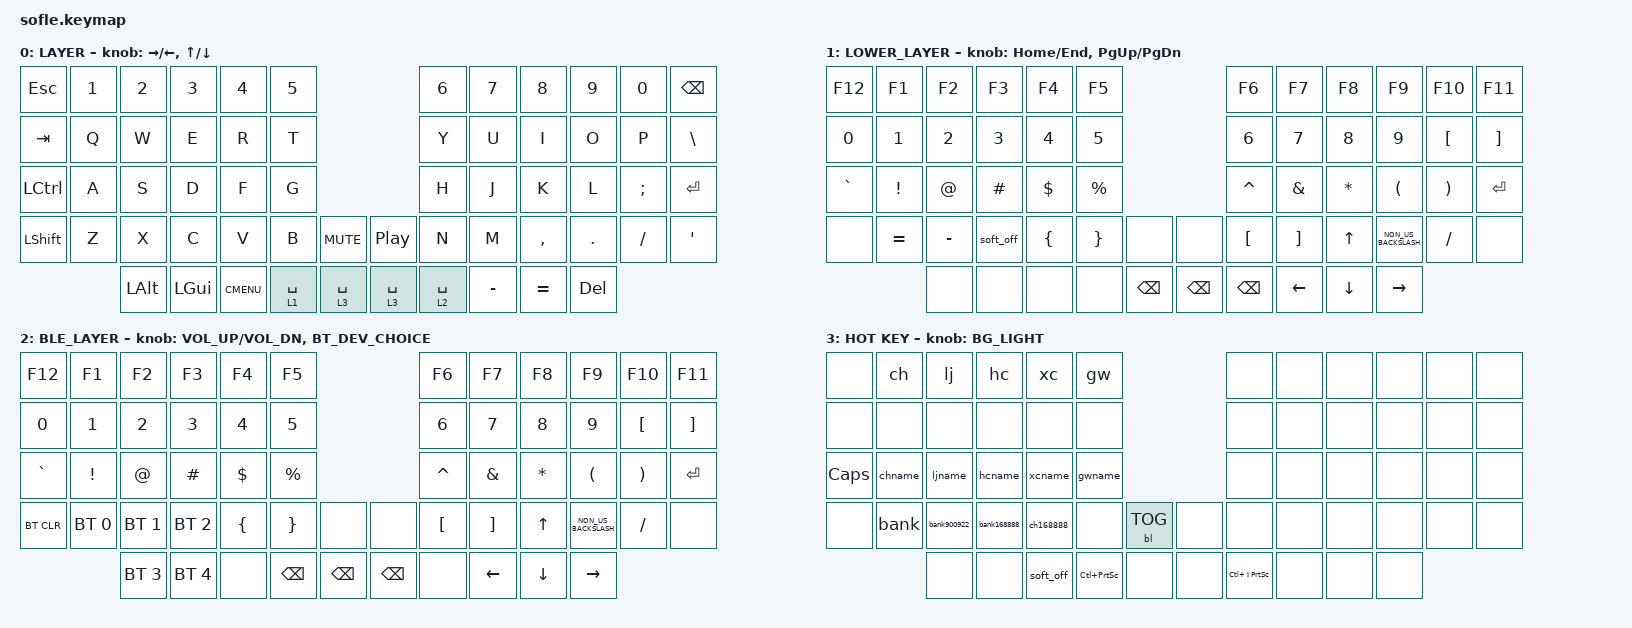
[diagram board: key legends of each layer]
/*
 * Copyright (c) 2020 The ZMK Contributors
 *
 * SPDX-License-Identifier: MIT
 */

#include <behaviors.dtsi>
#include <dt-bindings/zmk/backlight.h>
#include <dt-bindings/zmk/bt.h>
#include <dt-bindings/zmk/keys.h>

#define BASE 0
#define LOWER 1
#define RAISE 2
#define ADJUST 3

/ {
    // Activate ADJUST layer by pressing raise and lower

    conditional_layers { compatible = "zmk,conditional-layers"; };

    behaviors {
        BT_DEV_CHOICE: BT_DEV_CHOICE {
            compatible = "zmk,behavior-sensor-rotate";
            label = "BT_DEV_CHOICE";
            #sensor-binding-cells = <0>;
            bindings = <&bt BT_PRV>, <&bt BT_NXT>;
        };

        BG_LIGHT: BG_LIGHT {
            compatible = "zmk,behavior-sensor-rotate";
            label = "BG_LIGHT";
            #sensor-binding-cells = <0>;
            bindings = <&bl BL_INC>, <&bl BL_DEC>;
        };
    };

    macros {
        ch: ch {
            compatible = "zmk,behavior-macro";
            #binding-cells = <0>;
            bindings = <&kp TAB &kp N0 &kp N0 &kp N8 &kp TAB &kp N0 &kp N0 &kp N0 &kp N0 &kp N1 &kp N1 &kp ENTER &kp ENTER>;
            label = "CH";
        };

        lj: new_macro {
            compatible = "zmk,behavior-macro";
            #binding-cells = <0>;
            bindings = <&kp TAB &kp N0 &kp N0 &kp N8 &kp TAB &kp N0 &kp N0 &kp N0 &kp N0 &kp NUMBER_2 &kp NUMBER_2 &kp ENTER &kp ENTER>;
            label = "NEW_MACRO";
        };

        hc: hc {
            compatible = "zmk,behavior-macro";
            #binding-cells = <0>;
            bindings = <&kp TAB &kp N0 &kp N0 &kp N8 &kp TAB &kp N0 &kp N0 &kp N0 &kp N0 &kp NUMBER_3 &kp NUMBER_3 &kp ENTER &kp ENTER>;
            label = "HC";
        };

        xc: xc {
            compatible = "zmk,behavior-macro";
            #binding-cells = <0>;
            bindings = <&kp TAB &kp N0 &kp N0 &kp NUMBER_6 &kp TAB &kp N0 &kp N0 &kp N0 &kp N0 &kp NUMBER_4 &kp NUMBER_4 &kp ENTER &kp ENTER>;
            label = "XC";
        };

        gw: gw {
            compatible = "zmk,behavior-macro";
            #binding-cells = <0>;
            bindings = <&kp TAB &kp N0 &kp N0 &kp NUMBER_6 &kp TAB &kp N0 &kp N0 &kp N0 &kp N0 &kp N5 &kp N5 &kp ENTER &kp ENTER>;
            label = "GW";
        };

        chname: chname {
            compatible = "zmk,behavior-macro";
            #binding-cells = <0>;
            bindings = <&kp C &kp H>;
            label = "CHNAME";
        };

        ljname: ljname {
            compatible = "zmk,behavior-macro";
            #binding-cells = <0>;
            bindings = <&kp L &kp J>;
            label = "LJNAME";
        };

        hcname: hcname {
            compatible = "zmk,behavior-macro";
            #binding-cells = <0>;
            bindings = <&kp H &kp C>;
            label = "HCNAME";
        };

        xcname: xcname {
            compatible = "zmk,behavior-macro";
            #binding-cells = <0>;
            bindings = <&kp X &kp C>;
            label = "XCNAME";
        };

        gwname: gwname {
            compatible = "zmk,behavior-macro";
            #binding-cells = <0>;
            bindings = <&kp G &kp W>;
            label = "GWNAME";
        };

        bank: bank {
            compatible = "zmk,behavior-macro";
            #binding-cells = <0>;
            bindings = <&kp N0 &kp N1 &kp N4 &kp N0 &kp N7 &kp N8 &kp ENTER>;
            label = "BANK";
        };

        hcbank: hcbank {
            compatible = "zmk,behavior-macro";
            #binding-cells = <0>;
            bindings = <&kp N1 &kp N0 &kp N9 &kp N9 &kp N2 &kp N6 &kp ENTER>;
            label = "HCBANK";
        };

        bank168888: bank168888 {
            compatible = "zmk,behavior-macro";
            #binding-cells = <0>;
            bindings = <&kp N1 &kp N6 &kp N8 &kp N8 &kp N8 &kp N8 &kp ENTER>;
            label = "BANK168888";
        };

        ch168888: ch16888888 {
            compatible = "zmk,behavior-macro";
            #binding-cells = <0>;
            bindings = <&kp C &kp H &kp N1 &kp N6 &kp N8 &kp N8 &kp N8 &kp N8 &kp ENTER>;
            label = "CH16888888";
        };

        bank900922: bank900922 {
            compatible = "zmk,behavior-macro";
            #binding-cells = <0>;
            bindings = <&kp N9 &kp N0 &kp N0 &kp N9 &kp N2 &kp N2 &kp ENTER>;
            label = "BANK900922";
        };
    };

    keymap {
        compatible = "zmk,keymap";

        LAYER {
            display-name = "LAYER";

            // ------------------------------------------------------------------------------------------------------------
            // |  ESC  |  1  |  2  |  3   |  4   |  5   |                   |  6   |  7    |  8    |  9   |   0   |  DEL  |
            // |   `   |  Q  |  W  |  E   |  R   |  T   |                   |  Y   |  U    |  I    |  O   |   P   | BKSPC |
            // |  TAB  |  A  |  S  |  D   |  F   |  G   |                   |  H   |  J    |  K    |  L   |   ;   |   '   |
            // | SHIFT |  Z  |  X  |  C   |  V   |  B   |  MUTE  |  | PLAY_PAUSE |  N   |  M    |  ,    |  .   |   /   | SHIFT |
            //               | GUI | ALT  | CTRL | LOWER|  SPACE |  | ENTER | RAISE| CTRL  | ALT   | GUI  |

            bindings = <
&kp ESC    &kp N1  &kp N2    &kp N3    &kp N4       &kp N5                                        &kp N6       &kp N7     &kp N8     &kp N9   &kp N0    &kp BACKSPACE
&kp TAB    &kp Q   &kp W     &kp E     &kp R        &kp T                                         &kp Y        &kp U      &kp I      &kp O    &kp P     &kp BSLH
&kp LCTRL  &kp A   &kp S     &kp D     &kp F        &kp G                                         &kp H        &kp J      &kp K      &kp L    &kp SEMI  &kp ENTER
&kp LSHFT  &kp Z   &kp X     &kp C     &kp V        &kp B        &kp C_MUTE     &kp C_PLAY_PAUSE  &kp N        &kp M      &kp COMMA  &kp DOT  &kp FSLH  &kp SQT
                   &kp LALT  &kp LGUI  &kp K_CMENU  &lt 1 SPACE  &lt 3 SPACE    &lt 3 SPACE       &lt 2 SPACE  &kp MINUS  &kp EQUAL  &kp DEL
            >;

            sensor-bindings = <&inc_dec_kp RIGHT LEFT>, <&inc_dec_kp UP DOWN>;
        };

        lower_layer {
            display-name = "LOWER_LAYER";

            // TODO: Some binds are waiting for shifted keycode support.
            // ------------------------------------------------------------------------------------------------------------
            // |       |  F1 |  F2 |  F3  |  F4  |  F5  |                   |  F6  |  F7   |  F8   |  F9  |  F10  |  F11  |
            // |   `   |  1  |  2  |  3   |  4   |  5   |                   |  6   |  7    |  8    |  9   |   0   |  F12  |
            // |       |  !  |  @  |  #   |  $   |  %   |                   |  ^   |  &    |  *    |  (   |   )   |   |   |
            // |  CLCK |  =  |  -  |  +   |  {   |  }   |        |  |       |  [   |  ]    |  ;    |  :   |   \   | CLCK  |
            //               |     |      |      |      |        |  |       |      |       |       |      |

            bindings = <
&kp F12    &kp F1     &kp F2     &kp F3     &kp F4    &kp F5                           &kp F6     &kp F7             &kp F8        &kp F9                &kp F10    &kp F11
&kp N0     &kp N1     &kp N2     &kp N3     &kp N4    &kp N5                           &kp N6     &kp N7             &kp N8        &kp N9                &kp LBKT   &kp RBKT
&kp GRAVE  &kp EXCL   &kp AT     &kp HASH   &kp DLLR  &kp PRCNT                        &kp CARET  &kp AMPS           &kp STAR      &kp LPAR              &kp RPAR   &kp ENTER
&none      &kp EQUAL  &kp MINUS  &soft_off  &kp LBRC  &kp RBRC   &none       &none     &kp LBKT   &kp RIGHT_BRACKET  &kp UP_ARROW  &kp NON_US_BACKSLASH  &kp SLASH  &none
                      &none      &none      &none     &none      &kp BSPC    &kp BSPC  &kp BSPC   &kp LEFT           &kp DOWN      &kp RIGHT
            >;

            sensor-bindings = <&inc_dec_kp HOME END>, <&inc_dec_kp PG_UP PG_DN>;
        };

        BLE_LAYER {
            display-name = "BLE_LAYER";
            bindings = <
&kp F12     &kp F1        &kp F2        &kp F3        &kp F4          &kp F5                                 &kp F6            &kp F7             &kp F8        &kp F9                &kp F10    &kp F11
&kp N0      &kp N1        &kp N2        &kp N3        &kp N4          &kp N5                                 &kp N6            &kp N7             &kp N8        &kp N9                &kp LBKT   &kp RBKT
&kp GRAVE   &kp EXCL      &kp AT        &kp HASH      &kp DLLR        &kp PRCNT                              &kp CARET         &kp AMPS           &kp ASTERISK  &kp LPAR              &kp RPAR   &kp RETURN
&bt BT_CLR  &bt BT_SEL 0  &bt BT_SEL 1  &bt BT_SEL 2  &kp LEFT_BRACE  &kp RIGHT_BRACE  &none       &none     &kp LEFT_BRACKET  &kp RIGHT_BRACKET  &kp UP        &kp NON_US_BACKSLASH  &kp SLASH  &none
                          &bt BT_SEL 3  &bt BT_SEL 4  &none           &kp BSPC         &kp BSPC    &kp BSPC  &none             &kp LEFT           &kp DOWN      &kp RIGHT
            >;

            sensor-bindings = <&inc_dec_kp C_VOL_UP C_VOL_DN>, <&BT_DEV_CHOICE>;
        };

        HOTKEY_LAYER {
            bindings = <
&none         &ch      &lj          &hc          &xc        &gw                                       &none                    &none  &none  &none  &none  &none
&none         &none    &none        &none        &none      &none                                     &none                    &none  &none  &none  &none  &none
&kp CAPSLOCK  &chname  &ljname      &hcname      &xcname    &gwname                                   &none                    &none  &none  &none  &none  &none
&none         &bank    &bank900922  &bank168888  &ch168888  &none                &bl BL_TOG    &none  &none                    &none  &none  &none  &none  &none
                       &none        &none        &soft_off  &kp LC(PRINTSCREEN)  &none         &none  &kp LC(LS(PRINTSCREEN))  &none  &none  &none
            >;

            sensor-bindings = <&BG_LIGHT>;
            label = "HOT KEY";
        };
    };
};
